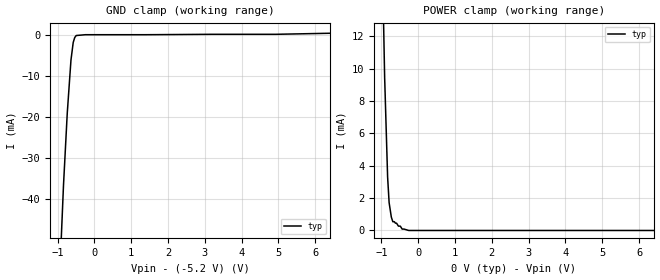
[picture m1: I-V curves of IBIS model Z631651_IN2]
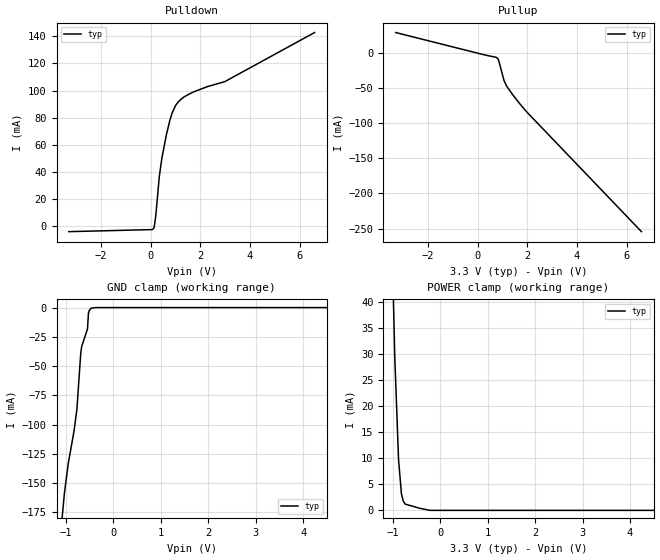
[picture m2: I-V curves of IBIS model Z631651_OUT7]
| YOU ARE ONLY AUTHORIZED TO USE THIS SOFTWARE
| ACCORDING TO LICENSOR'S LICENSE RESTRICTIONS.
[IBIS Ver] 3.1
[File Name] mc100ept25d_-52.ibs
[File Rev] 3.0
[Source] Measured and created by ICX Technology
[Date] 2/23/2004
[Copyright]
| (C) COPYRIGHT 1993-2000
| MENTOR GRAPHICS CORPORATION
| ICX STANDARD LIBRARY, ICX PROJECT MODELING,
| ICX CUSTOM MODELING, ICX VENDOR MODEL
| ALL RIGHTS RESERVED.
| THE FOLLOWING ARE TRADEMARKS OR SERVICE MARKS OF
| MENTOR GRAPHICS CORPORATION:ICX (R), ICX STANDARD
| LIBRARY(R), ICX PROJECT MODELING(R), ICX CUSTOM
| MODELING(R), qualityIBIS(TM), MODELVIEWER(TM),
| AND MODELEDITOR(TM)
| ALL COPIES OF SOFTWARE, INCLUDING BUT NOT LIMITED TO
| ANY MODIFICATIONS, ENHANCEMENTS OR DERIVATIVE WORKS,
| MUST CONTAIN ALL MENTOR GRAPHICS CORPORATION'S
| NOTICES AND LEGENDS, INCLUDING THOSE EMBEDDED IN
| SOFTWARE AND THOSE AFFIXED TO SOFTWARE MEDIUM
| AND CONTAINER, AS RECEIVED FROM MENTOR GRAPHICS
| CORPORATION.
|  ZAP Model Builder 2.8
[Component] MC100EPT25D_-52
[Manufacturer] OnSemiconductor
[Package]
| variable   typ   min   max
R_pkg  .152ohms NA NA
L_pkg  2.714nH NA NA
C_pkg  .364pF NA NA
[Pin] signal_name  model_name  R_pin  L_pin C_pin
1 VEE POWER .154 2.924n .374p
2 D Z631651_IN2 .15 2.504n .354p
3 _D Z631651_IN2 .15 2.504n .354p
4 VBB POWER .154 2.924n .374p
5 GND GND .154 2.924n .374p
6 NC NC .15 2.504n .354p
7 Q Z631651_OUT7 .15 2.504n .354p
8 VCC POWER .154 2.924n .374p
[Diff Pin] inv_pin vdiff tdelay_typ tdelay_min tdelay_max
2 3 100mv NA NA NA
| Models and submodels in the file (2): Z631651_IN2 (Input_ECL), Z631651_OUT7 (Output)
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| (C) COPYRIGHT 1993-2000
| MENTOR GRAPHICS CORPORATION
| ICX STANDARD LIBRARY, ICX PROJECT MODELING,
| ICX CUSTOM MODELING, ICX VENDOR MODEL
| ALL RIGHTS RESERVED.
| THE FOLLOWING ARE TRADEMARKS OR SERVICE MARKS OF
| MENTOR GRAPHICS CORPORATION:ICX (R), ICX STANDARD
| LIBRARY(R), ICX PROJECT MODELING(R), ICX CUSTOM
| MODELING(R), qualityIBIS(TM), MODELVIEWER(TM),
| AND MODELEDITOR(TM)
| ALL COPIES OF SOFTWARE, INCLUDING BUT NOT LIMITED TO
| ANY MODIFICATIONS, ENHANCEMENTS OR DERIVATIVE WORKS,
| MUST CONTAIN ALL MENTOR GRAPHICS CORPORATION'S
| NOTICES AND LEGENDS, INCLUDING THOSE EMBEDDED IN
| SOFTWARE AND THOSE AFFIXED TO SOFTWARE MEDIUM
| AND CONTAINER, AS RECEIVED FROM MENTOR GRAPHICS
| CORPORATION.
| Model Application Version 1.89 2/18/99.
[Model] Z631651_IN2
Model_type Input_ECL
Vinl = -1.625V
Vinh = -1.165V
C_comp 2.000pF NA NA
| variable typ   min   max
[Voltage Range] -5.200V NA NA
[GND Clamp Reference] -5.200V NA NA
[POWER Clamp Reference] 0.000V NA NA
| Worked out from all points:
|   GND clamp passes 1 mA (typ) near -0.55 V on its own axis
|   POWER clamp passes 1 mA (typ) near -0.74 V on its own axis
[GND Clamp]
-5.2V     -970.5mA   NA         NA
-841mV    -36.8mA    NA         NA
-739mV    -19.2mA    NA         NA
-638mV    -6.2mA     NA         NA
-577mV    -1.9mA     NA         NA
-536mV    -700uA     NA         NA
-496mV    -200uA     NA         NA
-248mV    0A         NA         NA
1.379V    0A         NA         NA
3.194V    100uA      NA         NA
4.926V    100uA      NA         NA
10.4V     1.048mA    NA         NA
[POWER Clamp]
-5.2V     653.1mA    NA         NA
-1.034V   23.77mA    NA         NA
-912mV    9.495mA    NA         NA
-831mV    3.309mA    NA         NA
-790mV    1.716mA    NA         NA
-730mV    826.2uA    NA         NA
-689mV    540.4uA    NA         NA
-537mV    268.5uA    NA         NA
-486mV    268.5uA    NA         NA
-435.5mV  85.97uA    NA         NA
-256.7mV  0A         NA         NA
10.4V     0A         NA         NA
| (C) COPYRIGHT 1993-2000
| MENTOR GRAPHICS CORPORATION
| ICX STANDARD LIBRARY, ICX PROJECT MODELING,
| ICX CUSTOM MODELING, ICX VENDOR MODEL
| ALL RIGHTS RESERVED.
| THE FOLLOWING ARE TRADEMARKS OR SERVICE MARKS OF
| MENTOR GRAPHICS CORPORATION:ICX (R), ICX STANDARD
| LIBRARY(R), ICX PROJECT MODELING(R), ICX CUSTOM
| MODELING(R), qualityIBIS(TM), MODELVIEWER(TM),
| AND MODELEDITOR(TM)
| ALL COPIES OF SOFTWARE, INCLUDING BUT NOT LIMITED TO
| ANY MODIFICATIONS, ENHANCEMENTS OR DERIVATIVE WORKS,
| MUST CONTAIN ALL MENTOR GRAPHICS CORPORATION'S
| NOTICES AND LEGENDS, INCLUDING THOSE EMBEDDED IN
| SOFTWARE AND THOSE AFFIXED TO SOFTWARE MEDIUM
| AND CONTAINER, AS RECEIVED FROM MENTOR GRAPHICS
| CORPORATION.
| Model Application Version 1.89 2/18/99.
[Model] Z631651_OUT7
Model_type Output
Vref=3.300V
Rref=500.0ohms
Cref=20.00pF
Vmeas=1.350V
C_comp 2.000pF NA NA
| variable typ   min   max
[Voltage Range] 3.300V NA NA
[POWER Clamp Reference] 3.300V NA NA
[Pullup Reference] 3.300V NA NA
[Pulldown Reference] 0.000V NA NA
[GND Clamp Reference] 0.000V NA NA
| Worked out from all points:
|   slope of the pulldown table from 0 to 0.495 V, typ, clamps not added: 8.68 ohm
|   slope of the pullup table from 0 to 0.495 V, typ, clamps not added: 121 ohm
|   GND clamp passes 1 mA (typ) near -0.48 V on its own axis
[GND Clamp]
-3.3V     -1.155A    NA         NA
-1.034V   -158.7mA   NA         NA
-953mV    -133.3mA   NA         NA
-831mV    -105.6mA   NA         NA
-770mV    -86.73mA   NA         NA
-689mV    -38.86mA   NA         NA
-669mV    -33.17mA   NA         NA
-547mV    -18.23mA   NA         NA
-527mV    -4.736mA   NA         NA
-507mV    -2.345mA   NA         NA
-466mV    -463.7uA   NA         NA
6.6V      0A         NA         NA
[Pulldown]
-3.3V     -3.907mA   NA         NA
101mV     -1.9mA     NA         NA
142mV     -300uA     NA         NA
203mV     7.7mA      NA         NA
345mV     36.7mA     NA         NA
446mV     49.9mA     NA         NA
628mV     67.3mA     NA         NA
871mV     84mA       NA         NA
1.115V    91.8mA     NA         NA
1.743V    99.2mA     NA         NA
2.98V     106.6mA    NA         NA
6.6V      142.8mA    NA         NA
[Pullup]
-3.3V     29.43mA    NA         NA
782mV     -6.6mA     NA         NA
822mV     -8.4mA     NA         NA
863mV     -12.2mA    NA         NA
1.065V    -39.2mA    NA         NA
1.167V    -46.7mA    NA         NA
1.694V    -71.9mA    NA         NA
1.977V    -83.7mA    NA         NA
6.6V      -254.4mA   NA         NA
[POWER Clamp]
-3.3V     942.4mA    NA         NA
-962mV    30.01mA    NA         NA
-881mV    9.83mA     NA         NA
-820mV    3.173mA    NA         NA
-779mV    1.739mA    NA         NA
-739mV    1.195mA    NA         NA
-435mV    404uA      NA         NA
-217.5mV  0A         NA         NA
6.6V      0A         NA         NA
[Ramp]
| variable typ min max
dV/dt_r 1.497/332.7p NA NA
dV/dt_f 1.497/528.1p NA NA
R_load = 500.0Ohms
